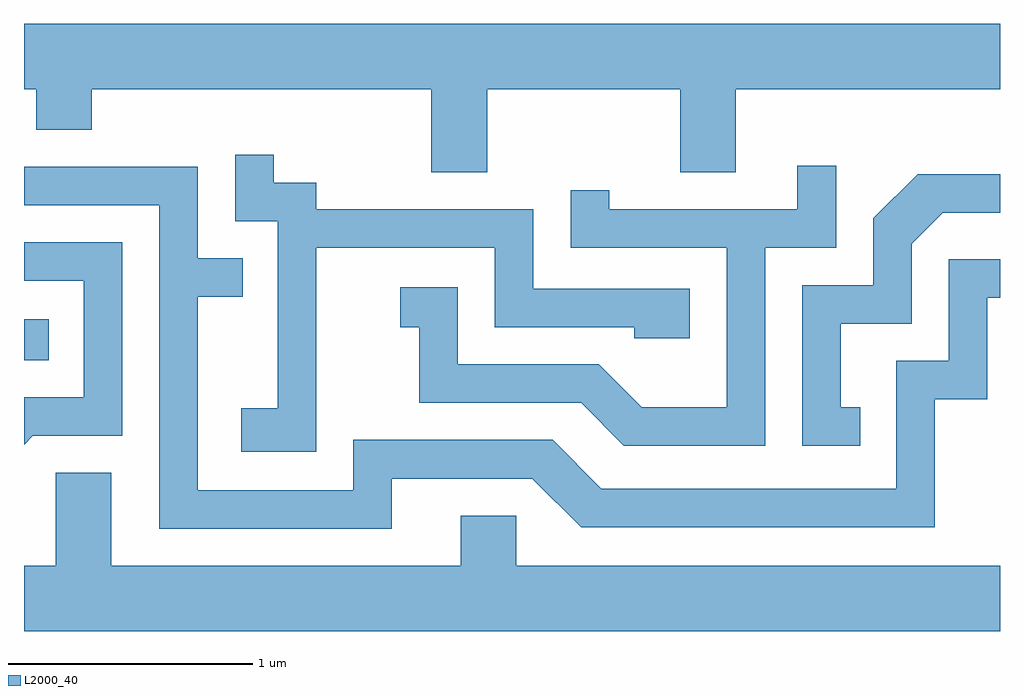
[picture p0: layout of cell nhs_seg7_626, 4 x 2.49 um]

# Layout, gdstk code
import gdstk
lib = gdstk.Library(unit=1e-6, precision=1e-09)
def R(c, l, rs):  # rectangles x0, y0, x1, y1
    for r in rs: c.add(gdstk.rectangle(r[:2], r[2:], *l))
def P(c, l, *ps):  # polygons
    for p in ps: c.add(gdstk.Polygon(p, *l))
L2000_40 = (2000, 40)

nhs_seg7_626 = lib.new_cell('nhs_seg7_626')
R(nhs_seg7_626, L2000_40, [(203.611,1722.086,203.713,1722.254)])
P(nhs_seg7_626, L2000_40, [(205.509,1723.196),(206.301,1723.196),(206.301,1722.856),(206.529,1722.856),(206.529,1723.196),(207.611,1723.196),(207.611,1723.464),(203.611,1723.464),(203.611,1723.196),(203.661,1723.196),(203.661,1723.031),(203.889,1723.031),(203.889,1723.196),(205.281,1723.196),(205.281,1722.856),(205.509,1722.856)],
  [(204.809,1722.546),(205.541,1722.546),(205.541,1722.221),(206.111,1722.221),(206.111,1722.176),(206.339,1722.176),(206.339,1722.379),(205.699,1722.379),(205.699,1722.704),(204.809,1722.704),(204.809,1722.814),(204.634,1722.814),(204.634,1722.928),(204.476,1722.928),(204.476,1722.656),(204.651,1722.656),(204.651,1721.889),(204.501,1721.889),(204.501,1721.711),(204.809,1721.711)],
  [(206.649,1722.546),(206.939,1722.546),(206.939,1722.883),(206.781,1722.883),(206.781,1722.704),(206.009,1722.704),(206.009,1722.783),(205.851,1722.783),(205.851,1722.546),(206.491,1722.546),(206.491,1721.894),(206.142,1721.894),(205.967,1722.069),(205.389,1722.069),(205.389,1722.384),(205.153,1722.384),(205.153,1722.221),(205.231,1722.221),(205.231,1721.911),(205.894,1721.911),(206.069,1721.736),(206.649,1721.736)],
  [(205.119,1721.601),(205.694,1721.601),(205.894,1721.401),(207.344,1721.401),(207.344,1721.926),(207.559,1721.926),(207.559,1722.341),(207.611,1722.341),(207.611,1722.499),(207.401,1722.499),(207.401,1722.084),(207.186,1722.084),(207.186,1721.559),(205.977,1721.559),(205.777,1721.759),(204.961,1721.759),(204.961,1721.554),(204.324,1721.554),(204.324,1722.346),(204.508,1722.346),(204.508,1722.504),(204.324,1722.504),(204.324,1722.879),(203.611,1722.879),(203.611,1722.721),(204.166,1722.721),(204.166,1721.396),(205.119,1721.396)],
  [(207.038,1721.894),(206.959,1721.894),(206.959,1722.236),(207.249,1722.236),(207.249,1722.564),(207.377,1722.691),(207.611,1722.691),(207.611,1722.849),(207.274,1722.849),(207.091,1722.667),(207.091,1722.394),(206.801,1722.394),(206.801,1721.736),(207.038,1721.736)],
  [(203.647,1721.776),(204.014,1721.776),(204.014,1722.569),(203.611,1722.569),(203.611,1722.411),(203.856,1722.411),(203.856,1721.934),(203.611,1721.934),(203.611,1721.74)],
  [(207.611,1721.244),(205.629,1721.244),(205.629,1721.449),(205.401,1721.449),(205.401,1721.244),(203.969,1721.244),(203.969,1721.624),(203.741,1721.624),(203.741,1721.244),(203.611,1721.244),(203.611,1720.976),(207.611,1720.976)])

lib.write_gds('nhs_seg7_626.gds')
